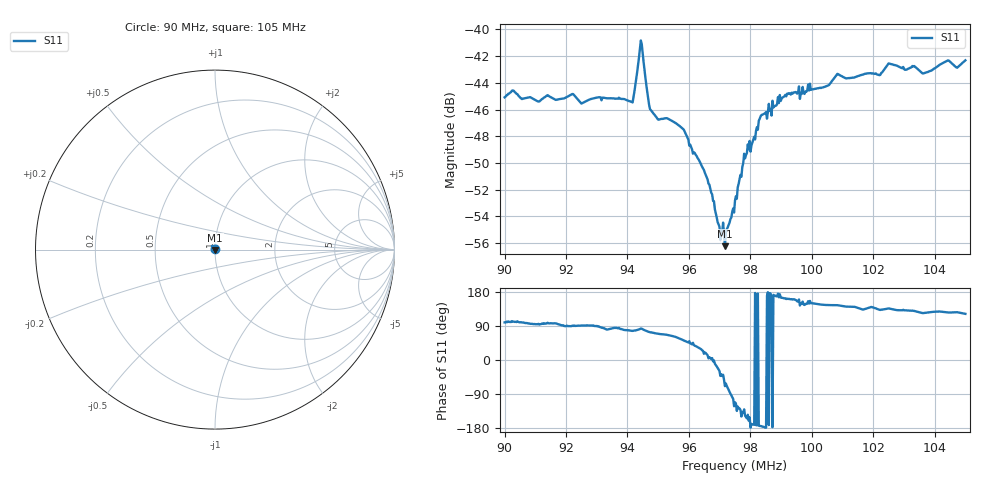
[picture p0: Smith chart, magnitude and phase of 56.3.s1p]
# HZ S RI R 50
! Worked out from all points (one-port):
!   505 points, 90 MHz to 105 MHz, reference 50 ohm
!   lowest |S11| = -56.2 dB at 97.17 MHz (marker M1), VSWR 1.00, Z = 50.1 - j0.144 ohm
!   |S11| at or under -10 dB: start of sweep to end of sweep
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9e7  -0.000886 0.0055
9.026786e7  -0.00115 0.00579
9.107143e7  -0.000397 0.00537
9.187501e7  -0.000135 0.00551
9.375001e7  0.000703 0.00546
9.416668e7  0.00121 0.00519
9.443454e7  0.00111 0.00902
9.449406e7  0.00126 0.00805
9.467263e7  0.00145 0.00533
9.476192e7  0.00147 0.00476
9.562502e7  0.00228 0.00378
9.651788e7  0.00274 0.000987
9.675597e7  0.0024 0.000212
9.696431e7  0.00169 -0.000783
9.717264e7  0.000554 -0.00144
9.750002e7  -0.000841 -0.00213
9.785717e7  -0.00295 -0.00166
9.80655e7  -0.00371 -0.000673
9.833336e7  -0.0047 -0.000478
9.937503e7  -0.00538 0.00201
1.004762e8  -0.00503 0.0035
1.008334e8  -0.00556 0.00394
1.0125e8  -0.00509 0.00417
1.022024e8  -0.00456 0.00496
1.025298e8  -0.00532 0.00521
1.03125e8  -0.00464 0.00539
1.036608e8  -0.00385 0.00568
1.05e8  -0.00403 0.00651
